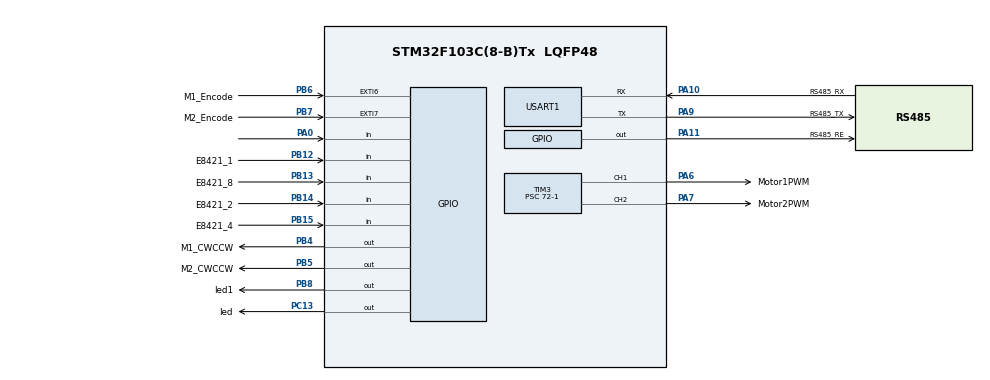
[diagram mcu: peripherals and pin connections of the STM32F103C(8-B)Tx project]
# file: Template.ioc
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Dma.Request0=USART1_TX
Dma.USART1_TX.0.Direction=DMA_MEMORY_TO_PERIPH
Dma.USART1_TX.0.Instance=DMA1_Channel4
Dma.USART1_TX.0.MemDataAlignment=DMA_MDATAALIGN_BYTE
Dma.USART1_TX.0.MemInc=DMA_MINC_ENABLE
Dma.USART1_TX.0.Mode=DMA_NORMAL
Dma.USART1_TX.0.PeriphDataAlignment=DMA_PDATAALIGN_BYTE
Dma.USART1_TX.0.PeriphInc=DMA_PINC_DISABLE
Dma.USART1_TX.0.Priority=DMA_PRIORITY_LOW
IWDG.Prescaler=IWDG_PRESCALER_64
IWDG.Reload=625
Mcu.Family=STM32F1
Mcu.Name=STM32F103C(8-B)Tx
Mcu.Package=LQFP48
NVIC.DMA1_Channel4_IRQn=true\:0\:0\:false\:false\:true\:false\:true\:true
NVIC.EXTI9_5_IRQn=true\:13\:0\:true\:false\:true\:true\:true\:true
NVIC.PriorityGroup=NVIC_PRIORITYGROUP_4
NVIC.TIM2_IRQn=true\:15\:0\:true\:false\:true\:true\:true\:true
NVIC.TIM4_IRQn=true\:14\:0\:true\:false\:true\:true\:true\:true
NVIC.USART1_IRQn=true\:12\:0\:true\:false\:true\:true\:true\:true
PA0-WKUP.GPIO_PuPd=GPIO_PULLDOWN
PA0-WKUP.Signal=GPIO_Input
PA10.GPIO_Label=RS485_RX
PA10.GPIO_PuPd=GPIO_PULLUP
PA10.Mode=Asynchronous
PA10.Signal=USART1_RX
PA11.GPIO_Label=RS485_RE
PA11.GPIO_PuPd=GPIO_PULLUP
PA11.GPIO_Speed=GPIO_SPEED_FREQ_HIGH
PA11.Signal=GPIO_Output
PA13.Mode=Serial_Wire
PA13.Signal=SYS_JTMS-SWDIO
PA14.Mode=Serial_Wire
PA14.Signal=SYS_JTCK-SWCLK
PA6.GPIO_Label=Motor1PWM
PA6.GPIO_Speed=GPIO_SPEED_FREQ_HIGH
PA6.Signal=S_TIM3_CH1
PA7.GPIO_Label=Motor2PWM
PA7.GPIO_Speed=GPIO_SPEED_FREQ_HIGH
PA7.Signal=S_TIM3_CH2
PA9.GPIO_Label=RS485_TX
PA9.Mode=Asynchronous
PA9.Signal=USART1_TX
PB12.GPIO_Label=E8421_1
PB12.GPIO_PuPd=GPIO_PULLUP
PB12.Signal=GPIO_Input
PB13.GPIO_Label=E8421_8
PB13.GPIO_PuPd=GPIO_PULLUP
PB13.Signal=GPIO_Input
PB14.GPIO_Label=E8421_2
PB14.GPIO_PuPd=GPIO_PULLUP
PB14.Signal=GPIO_Input
PB15.GPIO_Label=E8421_4
PB15.GPIO_PuPd=GPIO_PULLUP
PB15.Signal=GPIO_Input
PB4.GPIO_Label=M1_CWCCW
PB4.GPIO_PuPd=GPIO_PULLUP
PB4.GPIO_Speed=GPIO_SPEED_FREQ_HIGH
PB4.Signal=GPIO_Output
PB5.GPIO_Label=M2_CWCCW
PB5.GPIO_PuPd=GPIO_PULLUP
PB5.GPIO_Speed=GPIO_SPEED_FREQ_HIGH
PB5.Signal=GPIO_Output
PB6.GPIO_Label=M1_Encode
PB6.GPIO_ModeDefaultEXTI=GPIO_MODE_IT_RISING
PB6.GPIO_PuPd=GPIO_PULLDOWN
PB6.Signal=GPXTI6
PB7.GPIO_Label=M2_Encode
PB7.GPIO_ModeDefaultEXTI=GPIO_MODE_IT_RISING
PB7.GPIO_PuPd=GPIO_PULLDOWN
PB7.Signal=GPXTI7
PB8.GPIO_Label=led1
PB8.GPIO_PuPd=GPIO_PULLUP
PB8.GPIO_Speed=GPIO_SPEED_FREQ_HIGH
PB8.PinState=GPIO_PIN_SET
PB8.Signal=GPIO_Output
PC13-TAMPER-RTC.GPIO_Label=led
PC13-TAMPER-RTC.GPIO_PuPd=GPIO_PULLUP
PC13-TAMPER-RTC.GPIO_Speed=GPIO_SPEED_FREQ_HIGH
PC13-TAMPER-RTC.PinState=GPIO_PIN_SET
PC13-TAMPER-RTC.Signal=GPIO_Output
PD0-OSC_IN.Mode=HSE-External-Oscillator
PD0-OSC_IN.Signal=RCC_OSC_IN
PD1-OSC_OUT.Mode=HSE-External-Oscillator
PD1-OSC_OUT.Signal=RCC_OSC_OUT
ProjectManager.HeapSize=0x800
ProjectManager.StackSize=0x800
ProjectManager.TargetToolchain=MDK-ARM V5.32
RCC.AHBFreq_Value=72000000
RCC.APB1CLKDivider=RCC_HCLK_DIV2
RCC.APB1Freq_Value=36000000
RCC.APB1TimFreq_Value=72000000
RCC.APB2Freq_Value=72000000
RCC.APB2TimFreq_Value=72000000
RCC.HCLKFreq_Value=72000000
RCC.PLLMUL=RCC_PLL_MUL9
RCC.PLLSourceVirtual=RCC_PLLSOURCE_HSE
RCC.SYSCLKFreq_VALUE=72000000
RCC.SYSCLKSource=RCC_SYSCLKSOURCE_PLLCLK
RCC.USBFreq_Value=72000000
SH.S_TIM3_CH1.0=TIM3_CH1,PWM Generation1 CH1
SH.S_TIM3_CH2.0=TIM3_CH2,PWM Generation2 CH2
STMicroelectronics.X-CUBE-ALGOBUILD.1.3.0.LibraryCcDSPOoLibraryJjDSPOoLibrary=true
TIM2.AutoReloadPreload=TIM_AUTORELOAD_PRELOAD_ENABLE
TIM2.Period=10000-1
TIM2.Prescaler=72-1
TIM3.AutoReloadPreload=TIM_AUTORELOAD_PRELOAD_ENABLE
TIM3.Channel-PWM\ Generation1\ CH1=TIM_CHANNEL_1
TIM3.Channel-PWM\ Generation2\ CH2=TIM_CHANNEL_2
TIM3.OCPolarity_1=TIM_OCPOLARITY_LOW
TIM3.OCPolarity_2=TIM_OCPOLARITY_LOW
TIM3.Period=100-1
TIM3.Prescaler=72-1
TIM4.AutoReloadPreload=TIM_AUTORELOAD_PRELOAD_ENABLE
TIM4.Period=20000-1
TIM4.Prescaler=72-1
USART1.VirtualMode=VM_ASYNC
VP_IWDG_VS_IWDG.Mode=IWDG_Activate
VP_STMicroelectronics.X-CUBE-ALGOBUILD_VS_DSPOoLibraryJjLibrary_1.3.0_1.3.0.Mode=DSPOoLibraryJjLibrary
VP_TIM2_VS_ClockSourceINT.Mode=Internal
VP_TIM3_VS_ClockSourceINT.Mode=Internal
VP_TIM4_VS_ClockSourceINT.Mode=Internal
board=custom

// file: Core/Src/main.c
/* USER CODE BEGIN Header */
/**
  ******************************************************************************
  * @file           : main.c
  * @brief          : Main program body
  ******************************************************************************
  * @attention
  *
  * Copyright (c) 2023 STMicroelectronics.
  * All rights reserved.
  *
  * This software is licensed under terms that can be found in the LICENSE file
  * in the root directory of this software component.
  * If no LICENSE file comes with this software, it is provided AS-IS.
  *
  ******************************************************************************
  */
/* USER CODE END Header */
#include "main.h"
#include "dma.h"
#include "iwdg.h"
#include "tim.h"
#include "usart.h"
#include "gpio.h"

/* USER CODE BEGIN Includes */
#include <stdio.h>
#include "tim_it.h"
#include "exti_it.h"
#include "motor_encode.h"
#include "motor.h"
#include "usart_it.h"
#include "pid.h"
#include "e_8421.h"
#include "system.h"
#include <string.h>
#include "arm_math.h"
#include "fft.h"
/* USER CODE END Includes */

void SystemClock_Config(void);

/* USER CODE BEGIN 0 */
extern uint8_t FFT_Flag;
extern float buff[FFT_LENGTH];

float outsum=0;

uint8_t SSS=1;

extern //记录卡顿的脉冲
uint16_t KartunPulse;
/* USER CODE END 0 */

int main(void)
{
  /* USER CODE BEGIN 1 */
        /* 设置NVIC的向量表偏移寄存器,VTOR低9位保留,即[8:0]保留 */
    SCB->VTOR = FLASH_BASE | (0x08000 & (uint32_t)0xFFFFFE00);

    uint16_t i = 0;
    UNUSED(i);
  /* USER CODE END 1 */

  /* MCU Configuration--------------------------------------------------------*/

  /* Reset of all peripherals, Initializes the Flash interface and the Systick. */
  HAL_Init();

  /* Configure the system clock */
  SystemClock_Config();

  /* Initialize all configured peripherals */
  MX_GPIO_Init();
  MX_DMA_Init();
  MX_TIM3_Init();
  MX_TIM4_Init();
  MX_USART1_UART_Init();
//  MX_IWDG_Init();
  MX_TIM2_Init();
  /* USER CODE BEGIN 2 */

//  if(GetE_8421() == 0)
//  {
////	  for(uint16_t i=0;i<100;i++)
////			HAL_Delay(10);
//	  U_Speed = 0x30;
//  }
//  else
//  {
//	U_Speed = 0;
//  }

    HAL_TIM_PWM_Start(&htim3, TIM_CHANNEL_1);
    HAL_TIM_PWM_Start(&htim3, TIM_CHANNEL_2);

    HAL_TIM_Base_Start_IT(&htim4);

//    //启动计数器
//    HAL_TIM_Base_Start_IT(&htim2);

    HAL_UART_Receive_IT(&huart1, &USART1_RxStruct.receive, 1);

    pid_init();

    SetMotorCCW(0, GPIO_PIN_RESET);
    SetMotorCCW(1, GPIO_PIN_RESET);
    SetMotorPWM(0, 10);
    SetMotorPWM(1, 10);
    delay_ms(10);//相当于复位，以启动电机
    SetMotorCCW(0, GPIO_PIN_SET);
    SetMotorCCW(1, GPIO_PIN_SET);
    SetMotorPWM(0, 0);
    SetMotorPWM(1, 0);

//    U_Speed = 0x10;

//    printf("Init\n");

//    SSS=0x50;
//    while(1)
//    {
//        if(TIM3->CCR1<100)
//        {
//            SSS++;
//        }
//        else
//        {
//            static uint16_t n=0;
//            n++;
//            if(n==5)
//            {
//                goto START;
//            }
//        }
//        HAL_Delay(100);
//    }

    START:
    SSS+=5;
//    U_Speed = 0x20;
//    FFT_64_Init();

//    U_Speed = 0;

  if(GetE_8421() == 0)
  {
	  for(uint16_t i=0;i<1000;i++)
			HAL_Delay(10);
	  U_Speed = 0x30;
	  HAL_GPIO_WritePin(led1_GPIO_Port,led1_Pin,GPIO_PIN_RESET);
  }
  else
  {
	U_Speed = 0;
  }
  /* USER CODE END 2 */

  /* Infinite loop */
    while (1)
    {

    /* USER CODE BEGIN 3 */

        HAL_IWDG_Refresh(&hiwdg);
        while (HAL_GPIO_ReadPin(GPIOA, GPIO_PIN_0));
    }
  /* USER CODE END 3 */
}

void SystemClock_Config(void)
{
  LL_FLASH_SetLatency(LL_FLASH_LATENCY_2);
  while(LL_FLASH_GetLatency()!= LL_FLASH_LATENCY_2)
  {
  }
  LL_RCC_HSE_Enable();

   /* Wait till HSE is ready */
  while(LL_RCC_HSE_IsReady() != 1)
  {

  }
  LL_RCC_LSI_Enable();

   /* Wait till LSI is ready */
  while(LL_RCC_LSI_IsReady() != 1)
  {

  }
  LL_RCC_PLL_ConfigDomain_SYS(LL_RCC_PLLSOURCE_HSE_DIV_1, LL_RCC_PLL_MUL_9);
  LL_RCC_PLL_Enable();

   /* Wait till PLL is ready */
  while(LL_RCC_PLL_IsReady() != 1)
  {

  }
  LL_RCC_SetAHBPrescaler(LL_RCC_SYSCLK_DIV_1);
  LL_RCC_SetAPB1Prescaler(LL_RCC_APB1_DIV_2);
  LL_RCC_SetAPB2Prescaler(LL_RCC_APB2_DIV_1);
  LL_RCC_SetSysClkSource(LL_RCC_SYS_CLKSOURCE_PLL);

   /* Wait till System clock is ready */
  while(LL_RCC_GetSysClkSource() != LL_RCC_SYS_CLKSOURCE_STATUS_PLL)
  {

  }
  LL_SetSystemCoreClock(72000000);

   /* Update the time base */
  if (HAL_InitTick (TICK_INT_PRIORITY) != HAL_OK)
  {
    Error_Handler();
  }
}

void Error_Handler(void)
{
    __disable_irq();
    while (1)
    {
    }
}
